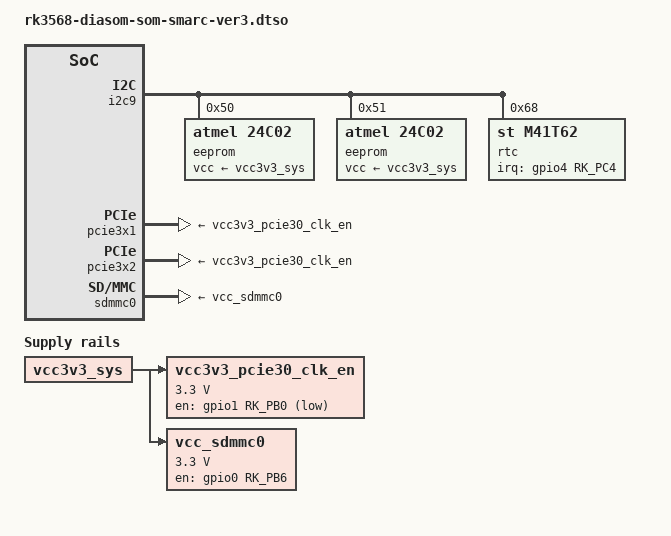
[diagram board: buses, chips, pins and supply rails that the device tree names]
/* SPDX-License-Identifier: GPL-2.0+ */
/* SPDX-FileCopyrightText: Alexander Shiyan <shc_work@mail.ru> */

/dts-v1/;
/plugin/;

#include <dt-bindings/gpio/gpio.h>
#include <dt-bindings/interrupt-controller/irq.h>
#include <dt-bindings/pinctrl/rockchip.h>

&{/} {
	aliases {
		rtc0 = &rtc;
	};

	vcc3v3_pcie30_clk_en: vcc3v3-pcie30-clk-en-regulator {
		pinctrl-names = "default";
		pinctrl-0 = <&pcie30_clk_en_pins>;
		compatible = "regulator-fixed";
		gpio = <&gpio1 RK_PB0 GPIO_ACTIVE_LOW>;
		regulator-name = "vcc3v3_pcie30_clk_en";
		regulator-min-microvolt = <3300000>;
		regulator-max-microvolt = <3300000>;
		startup-delay-us = <20000>;
		vin-supply = <&vcc3v3_sys>;
	};

	vcc_sdmmc0: vcc-sdmmc0-regulator {
		pinctrl-names = "default";
		pinctrl-0 = <&sdmmc0_vcc_pins>;
		compatible = "regulator-fixed";
		enable-active-high;
		gpio = <&gpio0 RK_PB6 GPIO_ACTIVE_HIGH>;
		regulator-name = "vcc_sdmmc0";
		regulator-boot-on;
		regulator-min-microvolt = <3300000>;
		regulator-max-microvolt = <3300000>;
		startup-delay-us = <20000>;
		vin-supply = <&vcc3v3_sys>;
	};
};

&exp {
	gpio-line-names =
		/* P0_0-7 */
		"GPIO8", "GPIO9", "GPIO10", "GPIO11",
		"GPIO12", "GPIO13", "WDT_TIME_OUT#", "LID#",
		/* P1_0-7 */
		"SLEEP#", "CHARGING#", "CHARGER_PRSNT#", "CARRIER_STBY#",
		"BATLOW#", "TEST#", "LCD0_VDD_EN", "",
		/* P2_0-7 */
		"", "", "", "",
		"", "", "", "";
};

&i2c9 {
	#address-cells = <1>;
	#size-cells = <0>;

	/* 24aa025e48 */
	eeprom@50 {
		compatible = "atmel,24c02";
		reg = <0x50>;
		pagesize = <16>;
		vcc-supply = <&vcc3v3_sys>;

		nvmem-layout {
			compatible = "fixed-layout";
			#address-cells = <1>;
			#size-cells = <1>;

			mac0: mac-address@fa {
				reg = <0xfa 0x06>;
				read-only;
			};
		};
	};

	/* 24aa025e48 */
	eeprom@51 {
		compatible = "atmel,24c02";
		reg = <0x51>;
		pagesize = <16>;
		vcc-supply = <&vcc3v3_sys>;

		nvmem-layout {
			compatible = "fixed-layout";
			#address-cells = <1>;
			#size-cells = <1>;

			mac1: mac-address@fa {
				reg = <0xfa 0x06>;
				read-only;
			};
		};
	};

	/* m41t62lc6f */
	rtc: rtc@68 {
		pinctrl-names = "default";
		pinctrl-0 = <&rtc_pins>;
		compatible = "st,m41t62";
		reg = <0x68>;
		interrupt-parent = <&gpio4>;
		interrupts = <RK_PC4 IRQ_TYPE_LEVEL_LOW>;
		wakeup-source;
		#clock-cells = <0>;
	};
};

&gmac0 {
	nvmem-cells = <&mac0>;
	nvmem-cell-names = "mac-address";
};

&gmac1 {
	nvmem-cells = <&mac1>;
	nvmem-cell-names = "mac-address";
};

&gpio0 {
	gpio-line-names =
		/* GPIO0 A0-A7 */
		"GMAC1_PHY_RESET#", "TCADC_SHUT_M0", "PMIC_SLEEP", "PMIC_IRQ#",
		"SDMMC0_DET#", "TEST1", "LED1", "FLASH_V_SELECT",
		/* GPIO0 B0-B7 */
		"CLK_32K_IN", "I2C0_SCL", "I2C0_SDA", "CAN0_TX",
		"CAN0_RX", "", "SDMMC0_PWR_EN", "",
		/* GPIO0 C0-C7 */
		"LED2", "RTC_SQW", "USB_OTG_EN_OC#", "LCD0_BKLT_PWM",
		"LCD1_BKLT_PWM", "GMAC0_PHY_RESET#", "TEST5", "",
		/* GPIO0 D0-D7 */
		"UART2_RX", "UART2_TX", "", "",
		"", "", "", "";
};

&gpio1 {
	gpio-line-names =
		/* GPIO1 A0-A7 */
		"I2C3_SDA", "I2C3_SCL", "GPIO0/CAM0_PWR#", "LCD0_BKLT_EN",
		"UART4_RX", "UART4_RTSn", "UART4_TX", "UART4_CTSn",
		/* GPIO1 B0-B7 */
		"PCIE30_CLK_EN", "PIC20_WAKEn_M2", "GPIO1/CAM1_PWR#", "GPIO3/CAM1_RST#",
		"eMMC_D0", "eMMC_D1", "eMMC_D2", "eMMC_D3",
		/* GPIO1 C0-C7 */
		"eMMC_D4", "eMMC_D5", "eMMC_D6", "eMMC_D7",
		"eMMC_CMD", "eMMC_CLK", "eMMC_DS", "eMMC_RESET#",
		/* GPIO1 D0-D7 */
		"", "", "", "",
		"", "SDMMC_D0", "SDMMC_D1", "SDMMC0_D2";
};

&gpio2 {
	gpio-line-names =
		/* GPIO2 A0-A7 */
		"SDMMC0_D3", "SDMMC0_CMD", "SDMMC0_CLK", "GMAC0_RXD2",
		"GMAC0_RXD3", "GMAC0_RXCLK", "GMAC0_TXD2", "GMAC0_TXD3",
		/* GPIO2 B0-B7 */
		"GMAC0_TXCLK", "CAN2_RX", "CAN2_TX", "GMAC0_TXD0",
		"GMAC0_TXD1", "GMAC0_TXEN", "GMAC0_RXD0", "GMAC0_RXD1",
		/* GPIO2 C0-C7 */
		"GMAC0_RXDV_CRS", "SPI2_CK", "SPI2_DIN", "SPI2_DO",
		"SPI2_CS0#", "SPI2_CS1#", "PCIE30X2_PERSTn", "",
		/* GPIO2 D0-D7 */
		"", "GPIO_EXP_INT", "PCIE30X1_CLKREQn_M1", "PCIE30X1_WAKEn_M1",
		"PCIE30X2_CLKREQn_M1", "PCIE30X2_WAKEn_M1", "GPIO4/HDA_RST#", "UART8_TX";
};

&gpio3 {
	gpio-line-names =
		/* GPIO3 A0-A7 */
		"UART8_RX", "PCIE30X1_PERSTn", "TEST10", "TEST12",
		"TEST11", "TEST2", "TEST13", "TEST3",
		/* GPIO3 B0-B7 */
		"TEST8", "TEST9", "TEST14", "TEST4",
		"TEST6", "TEST7", "GPIO2/CAM0_RST#", "GPIO6/TACHIN",
		/* GPIO3 C0-C7 */
		"GPIO5/PWM_OUT", "PCIE20_PERSTn", "UART5_TX", "UART5_RX",
		"LCD1_BKLT_EN", "LCD1_VDD_EN", "I2S1_MCLK", "I2S1_CK",
		/* GPIO3 D0-D7 */
		"I2S1_LRCK", "I2S1_SDOUT", "I2S1_SDIN", "SMB_ALERT#",
		"RESET_OUT#", "eDP0_HPD/DSI0_TE", "GMAC1_TXD2_M1", "GMAC1_TXD3_M1";
};

&gpio4 {
	gpio-line-names =
		/* GPIO4 A0-A7 */
		"GMAC1_TXCLK_M1", "GMAC1_RXD2_M1", "GMAC1_RXD3_M1", "GMAC1_RXCLK_M1",
		"GMAC1_TXD0_M1", "GMAC1_TXD1_M1", "GMAC1_TXEN_M1", "GMAC1_RXD0_M1",
		/* GPIO4 B0-B7 */
		"GMAC1_RXD1_M1", "GMAC1_RXDV_CRS_M1", "I2C4_SDA", "I2C4_SCL",
		"I2C2_SDA", "I2C2_SCL", "MDC", "MDIO",
		/* GPIO4 C0-C7 */
		"CAM_MCK", "GPIO7", "SPI3_CK", "SPI3_DO",
		"RTC_IRQ#", "SPI3_DIN", "SPI3_CS0#", "HDMI_I2C_SCL",
		/* GPIO4 D0-D7 */
		"HDMI_I2C_SDA", "SPI3_CS1#", "SDMMC0_WP", "",
		"", "", "", "";
};

&pcie30phy {
	phy-supply = <&vcc3v3_pcie30_clk_en>;
};

&pcie3x1 {
	vpcie3v3-supply = <&vcc3v3_pcie30_clk_en>;
};

&pcie3x2 {
	vpcie3v3-supply = <&vcc3v3_pcie30_clk_en>;
};

&pps {
	pinctrl-names = "default";
	pinctrl-0 = <&pps_pins>;
	gpios = <&gpio0 RK_PC1 GPIO_ACTIVE_HIGH>;
};

&sdmmc0 {
	vmmc-supply = <&vcc_sdmmc0>;
};

&pinctrl {
	pinctrl-0 = <&rstout_pins &smarc_pins>;

	mmc {
		sdmmc0_vcc_pins: sdmmc0-vcc-pins {
			rockchip,pins =
				<0 RK_PB6 RK_FUNC_GPIO &pcfg_pull_none>;	/* SDMMC0_PWR_EN */
		};
	};

	pci {
		pcie30_clk_en_pins: pcie30-clk-en-pins {
			rockchip,pins =
				<1 RK_PB0 RK_FUNC_GPIO &pcfg_pull_none>;	/* PCIE30_CLK_EN */
		};
	};

	pps {
		pps_pins: pps-pins {
			rockchip,pins =
				<0 RK_PC1 RK_FUNC_GPIO &pcfg_pull_none>;	/* RTC_SQW */
		};
	};

	rtc {
		rtc_pins: rtc-pins {
			rockchip,pins =
				<4 RK_PC4 RK_FUNC_GPIO &pcfg_pull_none>;	/* RTC_IRQ */
		};
	};

	smarc {
		/* Unused */
		smarc_pins: smarc-pins {
			rockchip,pins =
				<3 RK_PD3 RK_FUNC_GPIO &pcfg_pull_none>,	/* SMB_ALERT# */
				<1 RK_PA2 RK_FUNC_GPIO &pcfg_pull_none>,	/* GPIO0 */
				<3 RK_PB6 RK_FUNC_GPIO &pcfg_pull_none>,	/* GPIO2 */
				<2 RK_PD6 RK_FUNC_GPIO &pcfg_pull_none>,	/* GPIO4 */
				<3 RK_PC0 RK_FUNC_GPIO &pcfg_pull_none>,	/* GPIO5 */
				<3 RK_PB7 RK_FUNC_GPIO &pcfg_pull_none>,	/* GPIO6 */
				<4 RK_PC1 RK_FUNC_GPIO &pcfg_pull_none>;	/* GPIO7 */
		};
	};
};
